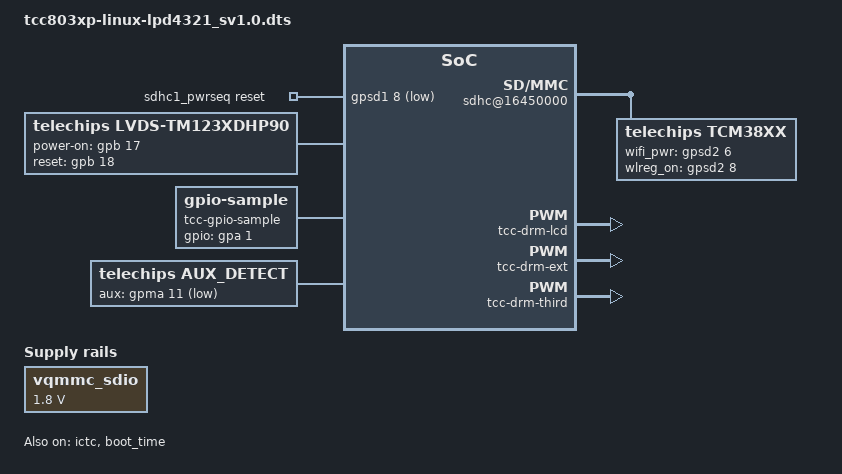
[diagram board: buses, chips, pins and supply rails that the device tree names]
/*
 * Device tree for Telechips TCC8031 AVN board
 *
 * Copyright (C) 2018 Telechips Inc. - http://www.telechips.com
 *
 * This file is dual-licensed: you can use it either under the terms
 * of the GPL or the X11 license, at your option. Note that this dual
 * licensing only applies to this file, and not this project as a
 * whole.
 *
 *  a) This file is free software; you can redistribute it and/or
 *     modify it under the terms of the GNU General Public License as
 *     published by the Free Software Foundation; either version 2 of the
 *     License, or (at your option) any later version.
 *
 *     This file is distributed in the hope that it will be useful,
 *     but WITHOUT ANY WARRANTY; without even the implied warranty of
 *     MERCHANTABILITY or FITNESS FOR A PARTICULAR PURPOSE.  See the
 *     GNU General Public License for more details.
 *
 * Or, alternatively,
 *
 *  b) Permission is hereby granted, free of charge, to any person
 *     obtaining a copy of this software and associated documentation
 *     files (the "Software"), to deal in the Software without
 *     restriction, including without limitation the rights to use,
 *     copy, modify, merge, publish, distribute, sublicense, and/or
 *     sell copies of the Software, and to permit persons to whom the
 *     Software is furnished to do so, subject to the following
 *     conditions:
 *
 *     The above copyright notice and this permission notice shall be
 *     included in all copies or substantial portions of the Software.
 *
 *     THE SOFTWARE IS PROVIDED "AS IS", WITHOUT WARRANTY OF ANY KIND,
 *     EXPRESS OR IMPLIED, INCLUDING BUT NOT LIMITED TO THE WARRANTIES
 *     OF MERCHANTABILITY, FITNESS FOR A PARTICULAR PURPOSE AND
 *     NONINFRINGEMENT. IN NO EVENT SHALL THE AUTHORS OR COPYRIGHT
 *     HOLDERS BE LIABLE FOR ANY CLAIM, DAMAGES OR OTHER LIABILITY,
 *     WHETHER IN AN ACTION OF CONTRACT, TORT OR OTHERWISE, ARISING
 *     FROM, OUT OF OR IN CONNECTION WITH THE SOFTWARE OR THE USE OR
 *     OTHER DEALINGS IN THE SOFTWARE.
 */

/dts-v1/;

#include "tcc803xp-linux-avn.dtsi"

/ {
	/* Describe here after remove this statement if you have something to be override. */
	/* SD CARD */
	sdhc1_pwrseq: sdhc1_pwrseq {
		compatible = "mmc-pwrseq-simple";
		reset-gpios = <&gpsd1 8 GPIO_ACTIVE_LOW>;
	};

	/* SDIO */
	vqmmc_sdio: vqmmc_sdio {
		compatible = "regulator-fixed";
		regulator-name = "vqmmc_sdio";
		regulator-min-microvolt = <1800000>;
		regulator-max-microvolt = <1800000>;
		regulator-always-on;
	};

	sdhc@16450000 {
		//non-removable;
		keep-power-in-suspend;
		cap-sdio-irq;

		vqmmc-supply = <&vqmmc_sdio>;

		cd-force-presence-change;

		tcm38xx {
			compatible = "telechips,tcm38xx";
			wifi_pwr-gpio = <&gpsd2 6 0>; /* BT_WIFI_VBAT_EN */
			wlreg_on-gpio = <&gpsd2 8 0>; /* WIFI_REG_ON */
			//wifi_pwr_1p8v-gpio = <&gpsd1 6 0>;
			//wifi_pwr_3p3v-gpio = <&gpsd1 7 0>;
		};
	};
	sdhc@16460000 {
		broken-cd;
		cd-inverted;
		keep-power-in-suspend;

		wp-gpios = <&gpsd1 7 0>;
		cd-gpios = <&gpsd1 6 0>;

		mmc-pwrseq = <&sdhc1_pwrseq>;
		vqmmc-supply = <&DA9062_LDO4>;
	};

	timer@14300000 {
		/* Timer 0 is used for WIFI LPO */
		tcc-timer-reserved = <0>;
	};

	tm123xdhp90 {
		compatible = "telechips,lvds-tm123xdhp90";
		status = "okay";
		lvds0 = <&lvds_phy>;
		power-on-gpios = <&gpb 17 0>;		// LCD_ON
		reset-gpios = <&gpb 18 0>;		// LCD_RST
		/*
		display-on-gpios = ;		// LCD_DISP
		lvds-stby-gpios = ;		// LCD_DE = LVDS_STBY in LVDS
		lvds-power-gpios = ;		// LVDS_EN
		lvds-power-gpios1 = ;		// V_5V0_EN
		*/
		mode = <1>;		/* 0: single 1: dual */
		ports = <2 3>;

	};

	hdmi640x480tu {
		compatible = "telechips,hdmi640x480tu";
		status = "okay";
	};

	tcc-drm-lcd {
	        compatible = "telechips,tcc-drm-lcd";
	        display-port-num = <0>;
	        reg = <0x12000000 0x100 0x12000400 0x100 0x12001800 0x100>,
				/* VIOC_REMAP */
				  <0x12000000 0x100 0x12004000 0x100 0x12018000 0x100>;
	        reg-names = "ddc", "rdma", "wmix";
	        interrupts = <GIC_SPI VIOC1_IRQI IRQ_TYPE_LEVEL_HIGH>;
	        interrupt-names = "vsync";
	        clock-names = "ddibus_vioc", "peri_lcd";
	        clocks = <&clk_ddi DDIBUS_VIOC>, <&clk_peri PERI_LCD0>;
	        status = "okay";
		display-timings {
			native-mode = <&timing0>;
			timing0: timing {
				clock-frequency = <88200000>;
				hactive = <1920>;
				vactive = <720>;
				hfront-porch = <28>;
				hback-porch = <28>;
				hsync-len = <8>;
				vback-porch = <10>;
				vfront-porch = <10>;
				vsync-len = <2>;
			};
		};
	};

	tcc-drm-ext {
	        compatible = "telechips,tcc-drm-ext";
	        display-port-num = <1>;
	        reg = <0x12000100 0x100 0x12000800 0x100 0x12001900 0x100>,
				/* VIOC_REMAP */
				  <0x12001000 0x100 0x12008000 0x100 0x12019000 0x100>;
	        reg-names = "ddc", "rdma", "wmix";
	        interrupts = <GIC_SPI VIOC1_IRQI IRQ_TYPE_LEVEL_HIGH>;
	        interrupt-names = "vsync";
	        clock-names = "ddibus_vioc", "peri_lcd";
	        clocks = <&clk_ddi DDIBUS_VIOC>, <&clk_peri PERI_LCD1>;
	        status = "okay";
		display-timings {
			native-mode = <&timing1>;
			timing1: timing {
				clock-frequency = <88200000>;
				hactive = <1920>;
				vactive = <720>;
				hfront-porch = <28>;
				hback-porch = <28>;
				hsync-len = <8>;
				vback-porch = <10>;
				vfront-porch = <10>;
				vsync-len = <2>;
			};
		};
	};

	tcc-drm-third {
	        compatible = "telechips,tcc-drm-third";
	        display-port-num = <2>;
	        reg = <0x12000200 0x100 0x12000C00 0x100 0x12001A00 0x100>,
				/* VIOC_REMAP */
				  <0x12002000 0x100 0x1200C000 0x100 0x1201A000 0x100>;
	        reg-names = "ddc", "rdma", "wmix";
	        interrupts = <GIC_SPI VIOC1_IRQI IRQ_TYPE_LEVEL_HIGH>;
	        interrupt-names = "vsync";
	        clock-names = "ddibus_vioc", "peri_lcd";
	        clocks = <&clk_ddi DDIBUS_VIOC>, <&clk_peri PERI_LCD2>;
	        status = "okay";
		display-timings {
			native-mode = <&timing2>;
			timing2: timing {
				clock-frequency = <51200000>;
				hactive = <1024>;
				vactive = <600>;
				hfront-porch = <147>;
				hback-porch = <147>;
				hsync-len = <19>;
				vback-porch = <10>;
				vfront-porch = <25>;
				vsync-len = <2>;
			};
		};
	};

	vout_drv@1 {
	    rdma = <&vioc_rdma VIOC_RDMA10>;
	    wmix = <&vioc_wmix VIOC_WMIX2>;
	    disp = <&vioc_disp VIOC_DISP2>;
	    subplane_rdma = <&vioc_rdma VIOC_RDMA09>;
		status = "disabled";
	};

	vioc_mgr@0 {
		status = "okay";
	};
	tcc-gpio-sample {
		compatible = "gpio-sample";
		leble = "TCC GPIO";
		/*EDGE_RISING : 0, EDGE_FALLING : 1, EDGE_BOTH : 2,
		LEVEL_HIGH : 3, LEVEL_LOW : 4*/
		irq-type = <2>;
		gpios = <&gpa 1 0>;
	};

#if 1//1:forISDBTApplication
	tcc_vsync_drv {
		compatible = "telechips,tcc_vsync";
		display-vioc0 = <&vioc_disp VIOC_DISP0>;
		display-vioc1 = <&vioc_disp VIOC_DISP1>;
		status = "okay";
	};

	tcc_video_viqe {
		compatible = "telechips,tcc_viqe";

		tcc_viqe_viqe_common {
			telechips,viqe,0 = <&vioc_viqe VIOC_VIQE0>;
			telechips,viqe,1 = <&vioc_viqe VIOC_VIQE1>;
			vioc_deintls = <VIOC_DEINTLS0>;
			board_num=<1>;
		};

		tcc_video_viqe_lcd {
			telechips,wmixer = <&vioc_wmix VIOC_WMIX0>;
			telechips,rdma,60 = <&vioc_rdma VIOC_RDMA03>;
			telechips,disp = <&vioc_disp VIOC_DISP0>;
			telechips,sc = <&vioc_scaler VIOC_SCALER1>;
			viqe_rdma_num_60 = <VIOC_VIQE_RDMA_03>;
			sc_rdma_num_60 = <VIOC_SC_RDMA_03>;
		};

		tcc_video_viqe_external {
			telechips,wmixer = <&vioc_wmix VIOC_WMIX1>;
			telechips,rdma,60 = <&vioc_rdma VIOC_RDMA07>;
			telechips,disp = <&vioc_disp VIOC_DISP1>;
			telechips,sc = <&vioc_scaler VIOC_SCALER1>;
			viqe_rdma_num_60 = <VIOC_VIQE_RDMA_07>;
			sc_rdma_num_60 = <VIOC_SC_RDMA_07>;
		};

		tcc_video_viqe_external_sub {
			telechips,wmixer = <&vioc_wmix VIOC_WMIX1>;
			telechips,rdma,60 = <&vioc_rdma VIOC_RDMA06>;
			telechips,disp = <&vioc_disp VIOC_DISP1>;
			telechips,sc = <&vioc_scaler VIOC_SCALER3>;
			viqe_rdma_num_60 = <VIOC_VIQE_RDMA_06>;
			sc_rdma_num_60 = <VIOC_SC_RDMA_06>;
		};

		tcc_video_main_m2m{
			main_rdma_num_m2m = <VIOC_VIQE_RDMA_14>;
			telechips,main_rdma,m2m = <&vioc_rdma VIOC_RDMA14>;
		};

		tcc_video_sub_m2m {
			sub_rdma_num_m2m = <VIOC_VIQE_RDMA_12>;
			telechips,sub_rdma,m2m = <&vioc_rdma VIOC_RDMA12>;
		};

		tcc_video_scaler_main_m2m {
			clocks = <&clk_ddi DDIBUS_VIOC>;
			m2m_sc_rdma = <&vioc_rdma VIOC_RDMA14>;
			m2m_sc_scaler = <&vioc_scaler VIOC_SCALER1>;
			m2m_sc_wmix = <&vioc_wmix VIOC_WMIX4>;
			m2m_sc_wdma = <&vioc_wdma VIOC_WDMA04>;
			m2m_sc_scaler_path = <VIOC_SC_RDMA_14>;
			m2m_sc_settop_support = <1>;
		};

		tcc_video_scaler_sub_m2m {
			clocks = <&clk_ddi DDIBUS_VIOC>;
			m2m_sc_rdma = <&vioc_rdma VIOC_RDMA12>;
			m2m_sc_scaler = <&vioc_scaler VIOC_SCALER3>;
			m2m_sc_wmix = <&vioc_wmix VIOC_WMIX3>;
			m2m_sc_wdma = <&vioc_wdma VIOC_WDMA03>;
			m2m_sc_scaler_path = <VIOC_SC_RDMA_12>;
			m2m_sc_settop_support = <1>;
		};
	};

	wmixer_drv1: wmixer_drv@1 {
		rdmas = <&vioc_rdma VIOC_RDMA12 VIOC_RDMA13>;
		status = "okay";
	};
#endif
	aux_detect {
		compatible = "telechips,aux_detect";
		status = "okay";
		pinctrl-names = "default";

		pinctrl-0 = <&aux_detect_pin>;
		aux-gpios = <&gpma 11 1>;
		aux-active = <1>;
	};
};

&aux_detect_pin {
	telechips,pins = "gpma-11";
};

&ictc {
	status = "okay";
};

&boot_time {
	status = "okay";
};
